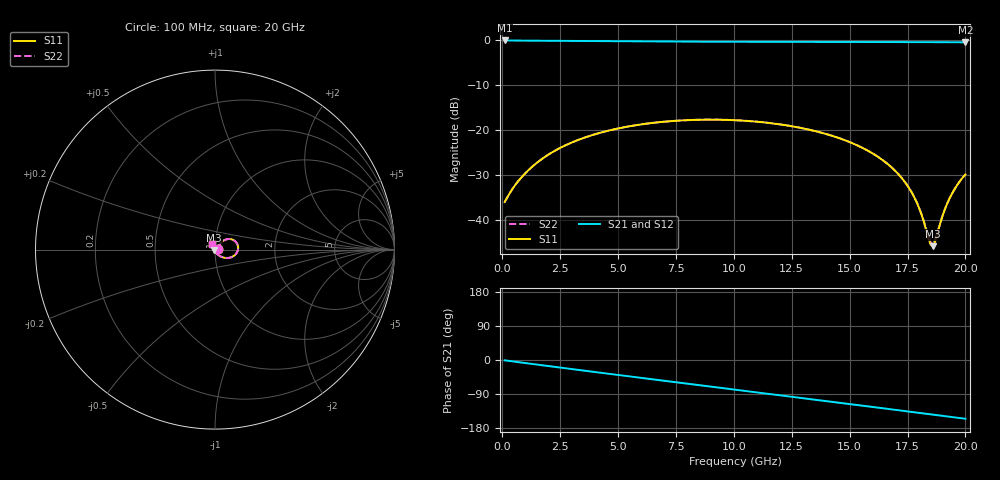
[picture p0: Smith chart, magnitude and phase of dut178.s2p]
! Touchstone file exported from HFSS 2026.1.0
!  File:  C:/ffzhzh/LocalFiles/Ansys_Project_Files/temp_train_TSV_RDL_178_1783056492_46780.aedt
!  Generated:  01:40:03 PM Jul  3, 2026
!  Design:  TSV_RDL
!  Project:  temp_train_TSV_RDL_178_1783056492_46780
! Variables:
!  h_bsmrdl = 4.12um
!  h_ox = 20um
!  h_rdl = 5um
!  h_sub = 99.93um
!  h_tmrdl = 2.34um
!  h_tsv = 99.93um
!  h_via = 3um
!  l_bsmrdl = 379.41um
!  l_sub = 2250.21um
!  l_tmrdl = 152.69um
!  m_sub = 200um
!  pitch = 25.27um
!  r_tsv = 5.79um
!  s_tmrdl = 10um
!  w_bsmrdl = 20.86um
!  w_sub = 500um
!  w_tmrdl = 12.88um
!  x_tsv_center1 = 159.13um
!  x_tsv_center2 = 559.4um
!  x_tsv_center3 = 724.97um
!  x_tsv_center4 = 1125.24um
!  x_tsv_center5 = 1290.81um
!  x_tsv_center6 = 1691.08um
# GHz S MA R 50.000000
! Terminal data exported
! Port[1] = TM_RDL1_1_T1
! Port[2] = TM_RDL5_1_T1
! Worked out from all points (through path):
!   200 points, 100 MHz to 20 GHz, reference 50 ohm
!   highest |S21| = -0.13 dB at 100 MHz (marker M1); lowest = -0.5 dB at 20 GHz (marker M2)
!   group delay of S21, straight-line fit = 21.4 ps
!   lowest |S11| = -45.9 dB at 18.6 GHz (marker M3), VSWR 1.01, Z = 49.5 - j0.173 ohm
!   |S11| at or under -10 dB: start of sweep to end of sweep
!   |S22| runs from -45.4 to -17.7 dB; largest |S21 - S12| = 1.2e-13
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0.1  0.01565 12.7  0.9848 -0.9  0.9848 -0.9  0.01565 12.7
! Gamma 0 0 0 0
! Port Impedance 50 0 50 0
0.7  0.02702 40.2  0.981 -5.8  0.981 -5.8  0.02702 40.2
1.4  0.04098 47.9  0.9783 -11.3  0.9783 -11.3  0.04099 47.9
2.3  0.05895 48.3  0.9749 -18.5  0.9749 -18.5  0.05896 48.3
3.5  0.08086 43.5  0.9703 -27.9  0.9703 -27.9  0.08087 43.5
5  0.1033 34.6  0.9647 -39.5  0.9647 -39.5  0.1033 34.6
6.8  0.1215 22.5  0.9588 -53.3  0.9588 -53.3  0.1216 22.5
10.1  0.1275 -1.2  0.952 -78.6  0.952 -78.6  0.1275 -1.2
11.8  0.1166 -13.8  0.9503 -91.6  0.9503 -91.6  0.1166 -13.9
13.4  0.09814 -26.2  0.9493 -103.9  0.9493 -103.9  0.09819 -26.3
15.3  0.06755 -41.7  0.948 -118.6  0.948 -118.6  0.06761 -41.9
16.7  0.04041 -55.1  0.9464 -129.4  0.9464 -129.4  0.04049 -55.5
17.3  0.028 -62.8  0.9455 -134.1  0.9455 -134.1  0.0281 -63.4
17.7  0.01964 -70.4  0.9448 -137.2  0.9448 -137.2  0.01976 -71.1
18.1  0.01146 -84.5  0.944 -140.3  0.944 -140.3  0.01164 -85.8
18.5  0.005252 -134.6  0.9432 -143.4  0.9432 -143.4  0.00555 -135.0
18.6  0.005065 -159.9  0.943 -144.2  0.943 -144.2  0.005354 -158.9
18.7  0.005782 177.2  0.9428 -145.0  0.9428 -145.0  0.006019 179.0
19  0.01073 142.5  0.942 -147.3  0.942 -147.3  0.01083 144.0
19.3  0.01686 129.7  0.9413 -149.6  0.9413 -149.6  0.01691 130.7
19.6  0.02325 122.6  0.9405 -152.0  0.9405 -152.0  0.02326 123.3
20  0.03185 116.1  0.9394 -155.1  0.9394 -155.1  0.03184 116.7
